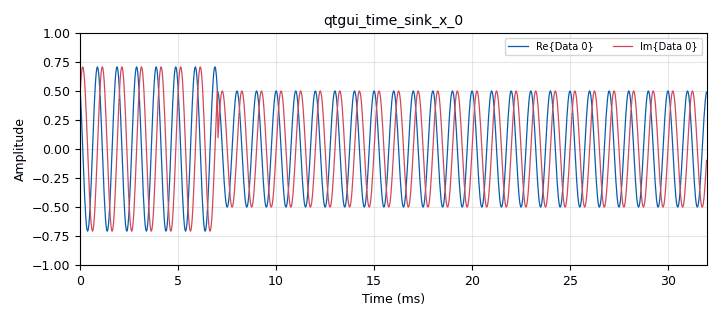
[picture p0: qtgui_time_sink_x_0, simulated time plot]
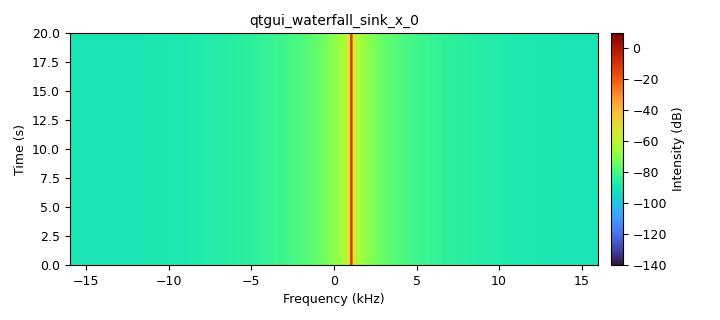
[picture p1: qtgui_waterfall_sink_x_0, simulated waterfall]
options:
  parameters:
    author: soram
    generate_options: qt_gui
    id: test2
    output_language: python
    title: Not titled yet
  states: {}

blocks:
- name: samp_rate
  id: variable
  parameters:
    value: '32000'
  states: {}
- name: analog_sig_source_x_0
  id: analog_sig_source_x
  parameters:
    amp: '1'
    freq: '1000'
    offset: '0'
    phase: '0'
    samp_rate: samp_rate
    type: complex
    waveform: analog.GR_COS_WAVE
  states: {}
- name: analog_sig_source_x_0_0
  id: analog_sig_source_x
  parameters:
    amp: '0.5'
    freq: '10'
    offset: '0'
    phase: '0'
    samp_rate: samp_rate
    type: complex
    waveform: analog.GR_SQR_WAVE
  states: {}
- name: blocks_add_const_vxx_0
  id: blocks_add_const_vxx
  parameters:
    const: '0.5'
    type: complex
  states: {}
- name: blocks_multiply_xx_0
  id: blocks_multiply_xx
  parameters:
    type: complex
  states: {}
- name: blocks_throttle2_0
  id: blocks_throttle2
  parameters:
    samples_per_second: samp_rate
    type: complex
  states: {}
- name: qtgui_time_sink_x_0
  id: qtgui_time_sink_x
  parameters:
    size: '1024'
    srate: samp_rate
    type: complex
  states: {}
- name: qtgui_waterfall_sink_x_0
  id: qtgui_waterfall_sink_x
  parameters:
    bw: samp_rate
    fc: '0'
    fftsize: '1024'
    type: complex
  states: {}

connections:
- [analog_sig_source_x_0, '0', blocks_multiply_xx_0, '0']
- [analog_sig_source_x_0_0, '0', blocks_add_const_vxx_0, '0']
- [blocks_add_const_vxx_0, '0', blocks_multiply_xx_0, '1']
- [blocks_multiply_xx_0, '0', blocks_throttle2_0, '0']
- [blocks_throttle2_0, '0', qtgui_time_sink_x_0, '0']
- [blocks_throttle2_0, '0', qtgui_waterfall_sink_x_0, '0']

metadata:
  file_format: 1
  grc_version: 3.10.12.0
